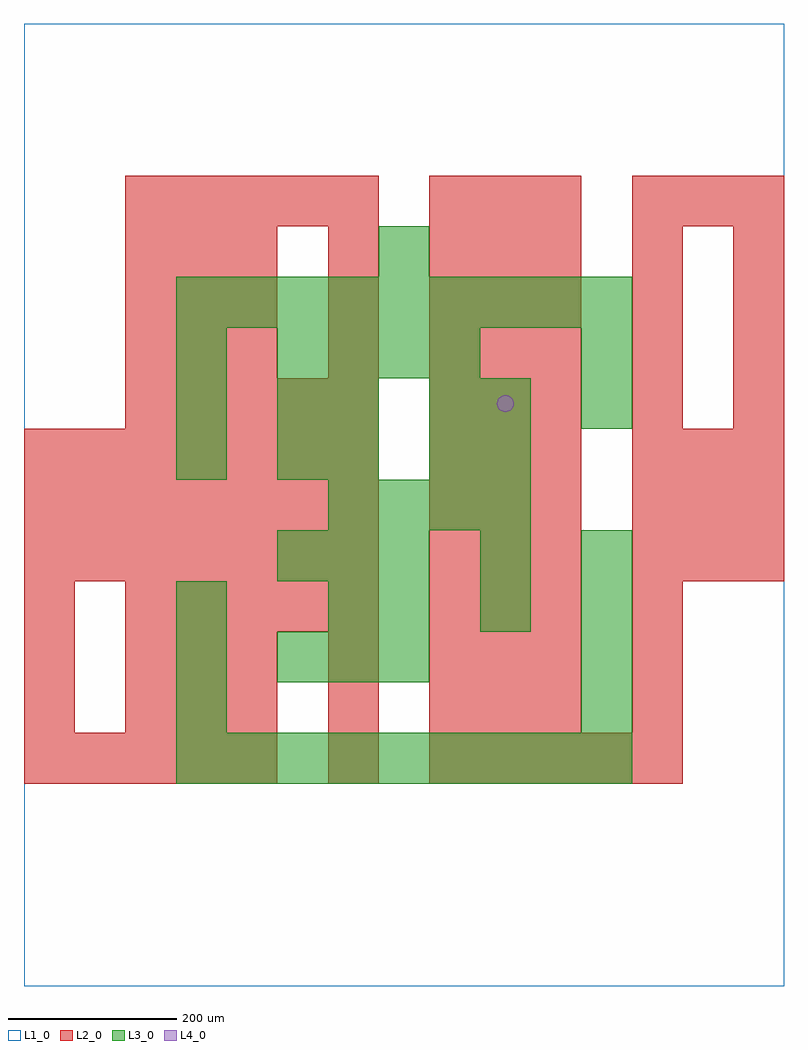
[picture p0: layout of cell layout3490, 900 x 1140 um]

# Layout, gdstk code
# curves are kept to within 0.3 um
import gdstk
lib = gdstk.Library(unit=1e-6, precision=1e-09)
def R(c, l, rs):  # rectangles x0, y0, x1, y1
    for r in rs: c.add(gdstk.rectangle(r[:2], r[2:], *l))
def A(c, l, x, y, w, h, nx, ny, dx, dy):  # array of equal rectangles
    R(c, l, [(x+i*dx, y+j*dy, x+i*dx+w, y+j*dy+h) for i in range(nx) for j in range(ny)])
def P(c, l, *ps):  # polygons
    for p in ps: c.add(gdstk.Polygon(p, *l))
L1_0 = (1, 0)
L2_0 = (2, 0)
L3_0 = (3, 0)
L4_0 = (4, 0)

layout3490 = lib.new_cell('layout3490')
R(layout3490, L1_0, [(0,0,900,1140)])
A(layout3490, L2_0, 0, 240, 60, 60, 5, 1, 60, 0)
A(layout3490, L2_0, 360, 240, 60, 60, 1, 3, 0, 60)
A(layout3490, L2_0, 480, 240, 60, 60, 5, 1, 60, 0)
A(layout3490, L2_0, 0, 300, 60, 60, 1, 3, 0, 60)
A(layout3490, L2_0, 120, 300, 60, 60, 3, 2, 60, 60)
A(layout3490, L2_0, 480, 300, 60, 60, 3, 11, 60, 60)
A(layout3490, L2_0, 720, 300, 60, 60, 1, 3, 0, 60)
A(layout3490, L2_0, 120, 420, 60, 60, 5, 3, 60, 240)
A(layout3490, L2_0, 0, 480, 60, 60, 7, 3, 60, 60)
A(layout3490, L2_0, 720, 480, 60, 60, 3, 3, 60, 60)
A(layout3490, L2_0, 720, 660, 60, 60, 1, 4, 0, 60)
A(layout3490, L2_0, 840, 660, 60, 60, 1, 4, 0, 60)
A(layout3490, L2_0, 120, 720, 60, 60, 3, 3, 60, 60)
A(layout3490, L2_0, 360, 720, 60, 60, 1, 3, 0, 60)
A(layout3490, L2_0, 720, 900, 60, 60, 3, 1, 60, 0)
A(layout3490, L3_0, 180, 240, 60, 60, 9, 2, 60, 540)
A(layout3490, L3_0, 180, 300, 60, 60, 1, 3, 0, 60)
A(layout3490, L3_0, 300, 360, 60, 60, 3, 2, 60, 120)
A(layout3490, L3_0, 420, 420, 60, 60, 3, 1, 120, 0)
A(layout3490, L3_0, 360, 540, 60, 60, 4, 1, 60, 0)
A(layout3490, L3_0, 180, 600, 60, 60, 1, 3, 0, 60)
A(layout3490, L3_0, 300, 720, 60, 60, 4, 1, 60, 0)
R(layout3490, L3_0, [(660,300,720,360), (660,360,720,420), (360,420,420,480), (540,480,600,540), (660,480,720,540), (300,600,360,660), (360,600,420,660), (480,600,540,660), (540,600,600,660), (300,660,360,720), (360,660,420,720), (480,660,540,720), (540,660,600,720), (660,660,720,720), (660,720,720,780), (420,840,480,900)])
P(layout3490, L4_0, [(580,690),(579.239,693.827),(577.071,697.071),(573.827,699.239),(570,700),(566.173,699.239),(562.929,697.071),(560.761,693.827),(560,690),(560.761,686.173),(562.929,682.929),(566.173,680.761),(570,680),(573.827,680.761),(577.071,682.929),(579.239,686.173)])

lib.write_gds('layout3490.gds')
